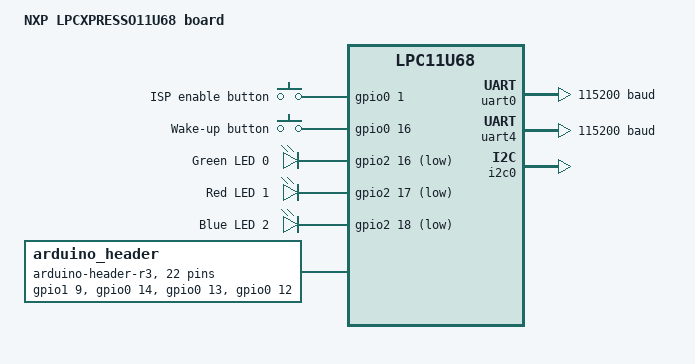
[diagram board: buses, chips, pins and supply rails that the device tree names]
/*
 * Copyright (c) 2020 Seagate Technology LLC
 *
 * SPDX-License-Identifier: Apache-2.0
 */

/dts-v1/;

#include <nxp/nxp_lpc11u68.dtsi>
#include <dt-bindings/pinctrl/lpc11u6x-pinctrl.h>

/ {
	model = "NXP LPCXPRESSO11U68 board";
	compatible = "lpcxpresso11u68", "nxp,lpc";
	chosen {
		zephyr,sram = &sram0;
		zephyr,flash = &flash0;
		zephyr,console = &uart4;
	};

	/* These aliases are provided for compatibility with samples. */
	aliases {
		led0 = &led0;
		led1 = &led1;
		led2 = &led2;
		sw0 = &isp_button;
		sw1 = &wake_up_button;
		eeprom-0 = &eeprom0;
	};

	gpio_keys {
		compatible = "gpio-keys";
		isp_button: button_0 {
			gpios = <&gpio0 1 GPIO_ACTIVE_HIGH>;
			label = "ISP enable button";
		};
		wake_up_button: button_1 {
			gpios = <&gpio0 16 GPIO_ACTIVE_HIGH>;
			label = "Wake-up button";
		};
	};

	leds {
		compatible = "gpio-leds";
		led0: led_0 {
			gpios = <&gpio2 16 GPIO_ACTIVE_LOW>;
			label = "Green LED 0";
		};
		led1: led_1 {
			gpios = <&gpio2 17 GPIO_ACTIVE_LOW>;
			label = "Red LED 1";
		};
		led2: led_2 {
			gpios = <&gpio2 18 GPIO_ACTIVE_LOW>;
			label = "Blue LED 2";
		};
	};

	arduino_header: connector {
		compatible = "arduino-header-r3";
		#gpio-cells = <2>;
		gpio-map-mask = <0xffffffff 0xffffffc0>;
		gpio-map-pass-thru = <0 0x3f>;
		gpio-map = <0 0 &gpio1 9 0>,	/* A0 */
			   <1 0 &gpio0 14 0>,	/* A1 */
			   <2 0 &gpio0 13 0>,	/* A2 */
			   <3 0 &gpio0 12 0>,	/* A3 */
			   <4 0 &gpio0 23 0>,	/* A4 */
			   <5 0 &gpio0 11 0>,	/* A5 */
			   <6 0 &gpio2 11 0>,	/* D0 */
			   <7 0 &gpio2 12 0>,	/* D1 */
			   <8 0 &gpio1 18 0>,	/* D2 */
			   <9 0 &gpio1 24 0>,	/* D3 */
			   <10 0 &gpio1 19 0>,	/* D4 */
			   <11 0 &gpio1 26 0>,	/* D5 */
			   <12 0 &gpio1 27 0>,	/* D6 */
			   <13 0 &gpio1 25 0>,	/* D7 */
			   <14 0 &gpio1 28 0>,	/* D8 */
			   <15 0 &gpio2 3 0>,	/* D9 */
			   <16 0 &gpio0 2 0>,	/* D10 */
			   <17 0 &gpio0 9 0>,	/* D11 */
			   <18 0 &gpio0 9 0>,	/* D12 */
			   <19 0 &gpio1 29 0>,	/* D13 */
			   <20 0 &gpio0 5 0>,	/* D14 */
			   <21 0 &gpio0 4 0>;	/* D15 */
	};

};

&uart0 {
	pinmuxs = <&pinmux1 26 IOCON_FUNC2>, <&pinmux1 27 IOCON_FUNC2>;
	pinmux-names = "RXD", "TXD";
	current-speed = <115200>;
	status = "okay";
};

arduino_serial: &uart4 {
	pinmuxs = <&pinmux2 11 IOCON_FUNC1>, <&pinmux2 12 IOCON_FUNC1>;
	pinmux-names = "RXD", "TXD";
	current-speed = <115200>;
	status = "okay";
};

arduino_i2c: &i2c0 {
	pinmuxs = <&pinmux0 4 IOCON_FUNC1>,
	<&pinmux0 5 IOCON_FUNC1>;
	pinmux-names = "SCL", "SDA";
	status = "okay";
};

&cpu0 {
	clock-frequency = <48000000>;
};

&gpio0 {
	status = "okay";
};

&gpio1 {
	status = "okay";
};

&gpio2 {
	status = "okay";
};
